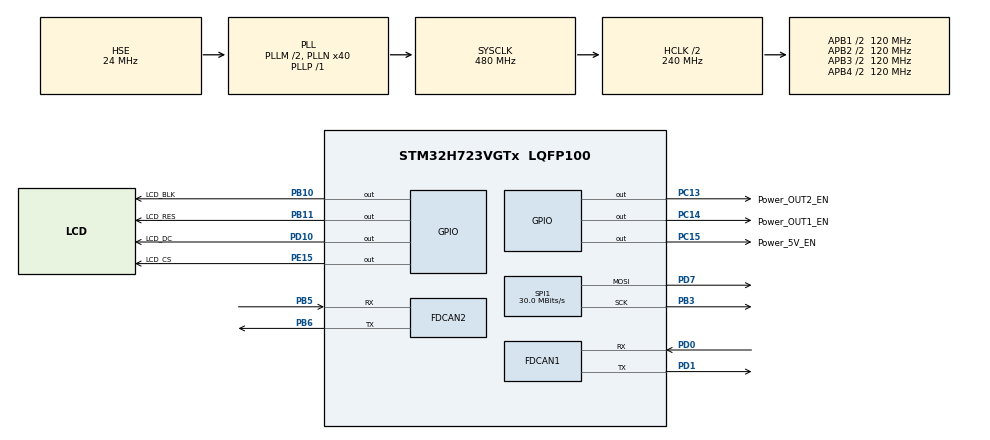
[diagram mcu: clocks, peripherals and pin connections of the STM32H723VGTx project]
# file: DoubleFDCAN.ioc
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CORTEX_M7.CPU_DCache=Enabled
CORTEX_M7.CPU_ICache=Enabled
FDCAN1.CalculateBaudRateNominal=1000000
FDCAN1.CalculateTimeBitNominal=1000
FDCAN1.CalculateTimeQuantumNominal=50.0
FDCAN1.DataTimeSeg1=0xF
FDCAN1.DataTimeSeg2=0x4
FDCAN1.NominalPrescaler=1
FDCAN1.NominalTimeSeg1=0xF
FDCAN1.NominalTimeSeg2=0x4
FDCAN1.ProtocolException=ENABLE
FDCAN1.RxFifo0ElmtsNbr=32
FDCAN1.StdFiltersNbr=1
FDCAN1.TxFifoQueueElmtsNbr=32
FDCAN2.CalculateBaudRateNominal=1000000
FDCAN2.CalculateTimeBitNominal=1000
FDCAN2.CalculateTimeQuantumNominal=50.0
FDCAN2.DataTimeSeg1=0xF
FDCAN2.DataTimeSeg2=0x4
FDCAN2.MessageRAMOffset=0x406
FDCAN2.NominalPrescaler=1
FDCAN2.NominalTimeSeg1=0xF
FDCAN2.NominalTimeSeg2=0x4
FDCAN2.ProtocolException=ENABLE
FDCAN2.RxFifo1ElmtsNbr=32
FDCAN2.StdFiltersNbr=1
FDCAN2.TxFifoQueueElmtsNbr=32
Mcu.Family=STM32H7
Mcu.Name=STM32H723VGTx
Mcu.Package=LQFP100
NVIC.FDCAN1_IT0_IRQn=true\:0\:0\:false\:false\:true\:true\:true\:true
NVIC.FDCAN2_IT0_IRQn=true\:0\:0\:false\:false\:true\:true\:true\:true
NVIC.PriorityGroup=NVIC_PRIORITYGROUP_4
NVIC.TIM6_DAC_IRQn=true\:1\:0\:true\:false\:true\:true\:true\:true
PA13(JTMS/SWDIO).Mode=Serial_Wire
PA13(JTMS/SWDIO).Signal=DEBUG_JTMS-SWDIO
PA14(JTCK/SWCLK).Mode=Serial_Wire
PA14(JTCK/SWCLK).Signal=DEBUG_JTCK-SWCLK
PB10.GPIO_Label=LCD_BLK
PB10.Signal=GPIO_Output
PB11.GPIO_Label=LCD_RES
PB11.Signal=GPIO_Output
PB3(JTDO/TRACESWO).Mode=TX_Only_Simplex_Unidirect_Master
PB3(JTDO/TRACESWO).Signal=SPI1_SCK
PB5.Mode=FDCAN_Activate
PB5.Signal=FDCAN2_RX
PB6.Mode=FDCAN_Activate
PB6.Signal=FDCAN2_TX
PC13.GPIO_Label=Power_OUT2_EN
PC13.GPIO_PuPd=GPIO_PULLUP
PC13.PinState=GPIO_PIN_SET
PC13.Signal=GPIO_Output
PC14-OSC32_IN.GPIO_Label=Power_OUT1_EN
PC14-OSC32_IN.GPIO_PuPd=GPIO_PULLUP
PC14-OSC32_IN.PinState=GPIO_PIN_SET
PC14-OSC32_IN.Signal=GPIO_Output
PC15-OSC32_OUT.GPIO_Label=Power_5V_EN
PC15-OSC32_OUT.GPIO_PuPd=GPIO_PULLUP
PC15-OSC32_OUT.PinState=GPIO_PIN_SET
PC15-OSC32_OUT.Signal=GPIO_Output
PD0.Mode=FDCAN_Activate
PD0.Signal=FDCAN1_RX
PD1.Mode=FDCAN_Activate
PD1.Signal=FDCAN1_TX
PD10.GPIO_Label=LCD_DC
PD10.Signal=GPIO_Output
PD7.Mode=TX_Only_Simplex_Unidirect_Master
PD7.Signal=SPI1_MOSI
PE15.GPIO_Label=LCD_CS
PE15.Signal=GPIO_Output
PH0-OSC_IN.Mode=HSE-External-Oscillator
PH0-OSC_IN.Signal=RCC_OSC_IN
PH1-OSC_OUT.Mode=HSE-External-Oscillator
PH1-OSC_OUT.Signal=RCC_OSC_OUT
ProjectManager.HeapSize=0x200
ProjectManager.StackSize=0x400
ProjectManager.TargetToolchain=MDK-ARM V5.27
RCC.ADCFreq_Value=120000000
RCC.APB1Freq_Value=120000000
RCC.APB2Freq_Value=120000000
RCC.APB3Freq_Value=120000000
RCC.APB4Freq_Value=120000000
RCC.CortexFreq_Value=480000000
RCC.D1PPRE=RCC_APB3_DIV2
RCC.D2PPRE1=RCC_APB1_DIV2
RCC.D2PPRE2=RCC_APB2_DIV2
RCC.D3PPRE=RCC_APB4_DIV2
RCC.DIVM1=2
RCC.DIVM2=2
RCC.DIVN1=40
RCC.DIVN2=40
RCC.DIVP1=1
RCC.DIVP2=4
RCC.DIVQ1=24
RCC.DIVQ2=4
RCC.HCLKFreq_Value=240000000
RCC.HPRE=RCC_HCLK_DIV2
RCC.HSE_VALUE=24000000
RCC.PLL2FRACN=0
RCC.PLL3FRACN=0
RCC.PLLFRACN=0
RCC.PLLSourceVirtual=RCC_PLLSOURCE_HSE
RCC.SPI123CLockSelection=RCC_SPI123CLKSOURCE_PLL2
RCC.SYSCLKFreq_VALUE=480000000
RCC.SYSCLKSource=RCC_SYSCLKSOURCE_PLLCLK
RCC.USBFreq_Value=20000000
SPI1.BaudRatePrescaler=SPI_BAUDRATEPRESCALER_4
SPI1.CLKPolarity=SPI_POLARITY_HIGH
SPI1.CalculateBaudRate=30.0 MBits/s
SPI1.DataSize=SPI_DATASIZE_8BIT
SPI1.Direction=SPI_DIRECTION_2LINES_TXONLY
SPI1.Mode=SPI_MODE_MASTER
SPI1.VirtualType=VM_MASTER
TIM6.AutoReloadPreload=TIM_AUTORELOAD_PRELOAD_ENABLE
TIM6.Period=2000
TIM6.Prescaler=24000
VP_MEMORYMAP_VS_MEMORYMAP.Mode=CurAppReg
VP_TIM6_VS_ClockSourceINT.Mode=Enable_Timer
board=custom

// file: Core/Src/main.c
/* USER CODE BEGIN Header */
/**
  ******************************************************************************
  * @file           : main.c
  * @brief          : Main program body
  ******************************************************************************
  * @attention
  *
  * Copyright (c) 2025 STMicroelectronics.
  * All rights reserved.
  *
  * This software is licensed under terms that can be found in the LICENSE file
  * in the root directory of this software component.
  * If no LICENSE file comes with this software, it is provided AS-IS.
  *
  ******************************************************************************
  */
/* USER CODE END Header */
#include "main.h"
#include "fdcan.h"
#include "memorymap.h"
#include "spi.h"
#include "tim.h"
#include "gpio.h"

/* USER CODE BEGIN Includes */
#include "bsp_fdcan.h"
#include "MWMotor.h"
#include "lcd.h"
#include "pic.h"
#include "decoder.h"
/* USER CODE END Includes */

/* USER CODE BEGIN PD */
void leftMotorSet(uint8_t busId, uint8_t can_id, uint8_t *data, uint8_t dataSize) {
    if(busId == 0x001) CAN_Send_StdDataFrame(&hfdcan1, can_id, data);
}

void rightMotorSet(uint8_t busId, uint8_t can_id, uint8_t *data, uint8_t dataSize) {
    if(busId == 0x001) CAN_Send_StdDataFrame(&hfdcan2, can_id, data);
}

void leftMotorNotice(uint8_t busId, uint8_t nodeId, MW_CMD_ID cmdId) {
    if(busId == 0x001) return;
}

void rightMotorNotice(uint8_t busId, uint8_t nodeId, MW_CMD_ID cmdId) {
    if(busId == 0x001) return;
}

MW_MOTOR_DATA leftMotorData;
MW_MOTOR_DATA rightMotorData;

uint8_t leftMotorRxData[8];
uint8_t leftMotorTorqueSetpoint[4];
uint8_t leftMotorTorqueFeedback[4];
uint8_t rightMotorRxData[8];
uint8_t rightMotorTorqueSetpoint[4];
uint8_t rightMotorTorqueFeedback[4];
float leftMotorTorqueFeedbackValue;
float rightMotorTorqueFeedbackValue;
char leftMotorTorqueFeedbackString[10];
char rightMotorTorqueFeedbackString[10];

MWMotorAccessInfo leftMotor = {.busId = 1, .nodeId = 0, .motorData = &leftMotorData, .sender = leftMotorSet, .notifier = leftMotorNotice};
MWMotorAccessInfo rightMotor = {.busId = 1, .nodeId = 1, .motorData = &rightMotorData, .sender = rightMotorSet, .notifier = rightMotorNotice};

/* USER CODE END PD */

void SystemClock_Config(void);

int main(void)
{

  /* Enable the CPU Cache */

  /* Enable I-Cache---------------------------------------------------------*/
  SCB_EnableICache();

  /* Enable D-Cache---------------------------------------------------------*/
  SCB_EnableDCache();

  /* MCU Configuration--------------------------------------------------------*/

  /* Reset of all peripherals, Initializes the Flash interface and the Systick. */
  HAL_Init();

  /* Configure the system clock */
  SystemClock_Config();

  /* Initialize all configured peripherals */
  MX_GPIO_Init();
  MX_FDCAN1_Init();
  MX_FDCAN2_Init();
  MX_SPI1_Init();
  MX_TIM6_Init();
  /* USER CODE BEGIN 2 */

	/* LCD配置 */
	LCD_Init();
	LCD_Fill(0, 0, LCD_W, LCD_H, BLACK);

	/* FDCAN配置 */
	fdcan1.rx_Filter_Init(); /* 初始化FDCAN1滤波器 */
	fdcan2.rx_Filter_Init(); /* 初始化FDCAN2滤波器 */
	fdcan1.start();
	fdcan2.start();
	fdcan1.rx_Interrupt_Init(); /* 打开FDCAN1的接收中断 */
	fdcan2.rx_Interrupt_Init(); /* 打开FDCAN2的接收中断 */

	_CANMSG can_msg;

	/* 注册电机 */
	MWRegisterMotor(leftMotor);

	HAL_Delay(100);

	MWRegisterMotor(rightMotor);

	HAL_Delay(100);

	/* 设置模式为直接力矩控制模式 */
	MWSetControllerMode(1, 0, MW_TORQUE_CONTROL, MW_DIRECT_CONTROL_INPUT);

	HAL_Delay(100);

	MWSetControllerMode(1, 1, MW_TORQUE_CONTROL, MW_DIRECT_CONTROL_INPUT);

	HAL_Delay(100);

    /* 进入闭环控制状态 */
    MWSetAxisState(1, 0, MW_AXIS_STATE_CLOSED_LOOP_CONTROL);

	HAL_Delay(100);

	MWSetAxisState(1, 1, MW_AXIS_STATE_CLOSED_LOOP_CONTROL);

	HAL_Delay(100);

	/* 输入控制力矩 */
	MWTorqueControl(1, 0, 1.0);

	HAL_Delay(100);

	MWTorqueControl(1, 1, 1.0);

	HAL_Delay(100);

//	MWDisableCAN(1, 1);

  /* USER CODE END 2 */

  /* Infinite loop */
  while (1)
  {

    /* USER CODE BEGIN 3 */
	  convertFloatToString(leftMotorTorqueFeedbackValue, leftMotorTorqueFeedbackString);
	  convertFloatToString(rightMotorTorqueFeedbackValue, rightMotorTorqueFeedbackString);
	  LCD_ShowString(20, 72,(uint8_t *)"Left Torque: ", BRRED, BLACK, 24, 0);
	  LCD_ShowString(200, 72,(uint8_t *)leftMotorTorqueFeedbackString, BRRED, BLACK, 24, 0);
	  LCD_ShowString(20, 102,(uint8_t *)"Right Torque: ", BRRED, BLACK, 24, 0);
	  LCD_ShowString(200, 102,(uint8_t *)rightMotorTorqueFeedbackString, BRRED, BLACK, 24, 0);

  }
  /* USER CODE END 3 */
}

void SystemClock_Config(void)
{
  RCC_OscInitTypeDef RCC_OscInitStruct = {0};
  RCC_ClkInitTypeDef RCC_ClkInitStruct = {0};

  /** Supply configuration update enable
  */
  HAL_PWREx_ConfigSupply(PWR_LDO_SUPPLY);

  /** Configure the main internal regulator output voltage
  */
  __HAL_PWR_VOLTAGESCALING_CONFIG(PWR_REGULATOR_VOLTAGE_SCALE0);

  while(!__HAL_PWR_GET_FLAG(PWR_FLAG_VOSRDY)) {}

  /** Initializes the RCC Oscillators according to the specified parameters
  * in the RCC_OscInitTypeDef structure.
  */
  RCC_OscInitStruct.OscillatorType = RCC_OSCILLATORTYPE_HSE;
  RCC_OscInitStruct.HSEState = RCC_HSE_ON;
  RCC_OscInitStruct.PLL.PLLState = RCC_PLL_ON;
  RCC_OscInitStruct.PLL.PLLSource = RCC_PLLSOURCE_HSE;
  RCC_OscInitStruct.PLL.PLLM = 2;
  RCC_OscInitStruct.PLL.PLLN = 40;
  RCC_OscInitStruct.PLL.PLLP = 1;
  RCC_OscInitStruct.PLL.PLLQ = 24;
  RCC_OscInitStruct.PLL.PLLR = 2;
  RCC_OscInitStruct.PLL.PLLRGE = RCC_PLL1VCIRANGE_3;
  RCC_OscInitStruct.PLL.PLLVCOSEL = RCC_PLL1VCOWIDE;
  RCC_OscInitStruct.PLL.PLLFRACN = 0;
  if (HAL_RCC_OscConfig(&RCC_OscInitStruct) != HAL_OK)
  {
    Error_Handler();
  }

  /** Initializes the CPU, AHB and APB buses clocks
  */
  RCC_ClkInitStruct.ClockType = RCC_CLOCKTYPE_HCLK|RCC_CLOCKTYPE_SYSCLK
                              |RCC_CLOCKTYPE_PCLK1|RCC_CLOCKTYPE_PCLK2
                              |RCC_CLOCKTYPE_D3PCLK1|RCC_CLOCKTYPE_D1PCLK1;
  RCC_ClkInitStruct.SYSCLKSource = RCC_SYSCLKSOURCE_PLLCLK;
  RCC_ClkInitStruct.SYSCLKDivider = RCC_SYSCLK_DIV1;
  RCC_ClkInitStruct.AHBCLKDivider = RCC_HCLK_DIV2;
  RCC_ClkInitStruct.APB3CLKDivider = RCC_APB3_DIV2;
  RCC_ClkInitStruct.APB1CLKDivider = RCC_APB1_DIV2;
  RCC_ClkInitStruct.APB2CLKDivider = RCC_APB2_DIV2;
  RCC_ClkInitStruct.APB4CLKDivider = RCC_APB4_DIV2;

  if (HAL_RCC_ClockConfig(&RCC_ClkInitStruct, FLASH_LATENCY_3) != HAL_OK)
  {
    Error_Handler();
  }
}

/* USER CODE BEGIN 4 */

void HAL_TIM_PeriodElapsedCallback(TIM_HandleTypeDef *htim)
{
	if (htim->Instance==TIM6)
	{
		if (fdcan1.rx_MSG.id == 0x14)
		{
			memcpy(leftMotorRxData, (const void *)(fdcan1.rx_MSG.buffer), 8*sizeof(uint8_t));
			memcpy(leftMotorTorqueFeedback, leftMotorRxData+4, 4*sizeof(uint8_t));
			leftMotorTorqueFeedbackValue = getFloat(convertUint8ArrayToUint32(leftMotorTorqueFeedback))*LEFT_MOTOR_TORQUE_CONSTANT;
		}

		if (fdcan2.rx_MSG.id == 0x34)
		{
			memcpy(rightMotorRxData, (const void *)(fdcan2.rx_MSG.buffer), 8*sizeof(uint8_t));
			memcpy(rightMotorTorqueFeedback, rightMotorRxData+4, 4*sizeof(uint8_t));
			rightMotorTorqueFeedbackValue = getFloat(convertUint8ArrayToUint32(rightMotorTorqueFeedback))*RIGHT_MOTOR_TORQUE_CONSTANT;
		}
	}
}

/* USER CODE END 4 */

void Error_Handler(void)
{
  __disable_irq();
  while (1)
  {
  }
}
